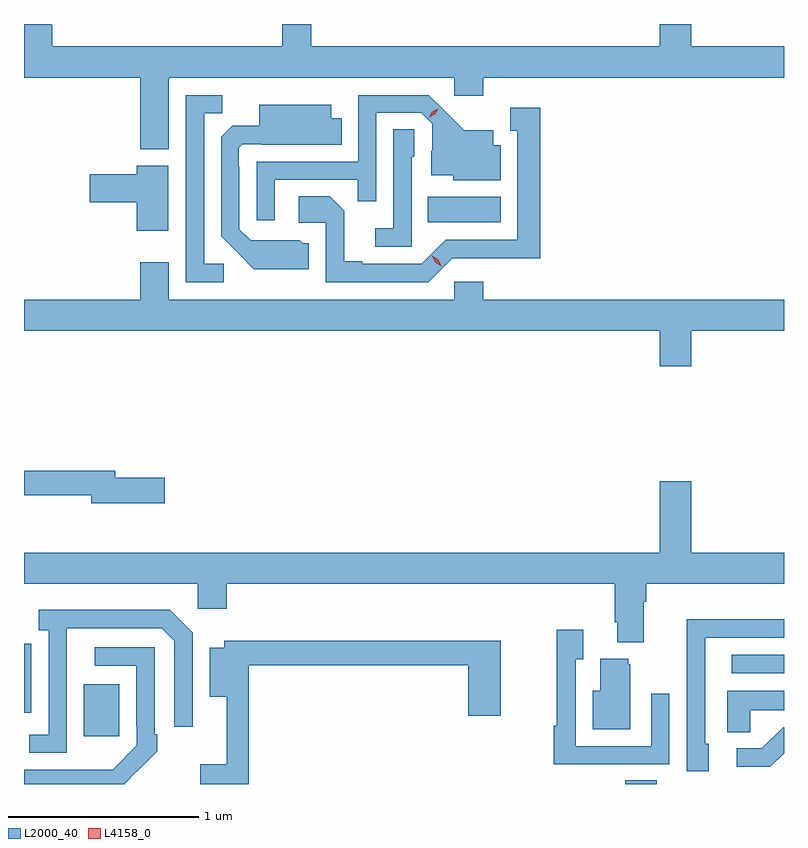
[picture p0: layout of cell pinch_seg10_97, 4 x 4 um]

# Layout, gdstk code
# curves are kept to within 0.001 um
import gdstk
lib = gdstk.Library(unit=1e-6, precision=1e-09)
def R(c, l, rs):  # rectangles x0, y0, x1, y1
    for r in rs: c.add(gdstk.rectangle(r[:2], r[2:], *l))
def P(c, l, *ps):  # polygons
    for p in ps: c.add(gdstk.Polygon(p, *l))
L2000_40 = (2000, 40)
L4158_0 = (4158, 0)

pinch_seg10_97 = lib.new_cell('pinch_seg10_97')
R(pinch_seg10_97, L2000_40, [(716.273,1288.606,716.438,1288.625), (713.423,1288.857,713.611,1289.131), (716.835,1289.19,717.109,1289.286), (715.234,1291.562,715.618,1291.696)])
P(pinch_seg10_97, L2000_40, [(713.872,1292.324),(715.374,1292.324),(715.374,1292.229),(715.526,1292.229),(715.526,1292.324),(717.109,1292.324),(717.109,1292.488),(716.62,1292.488),(716.62,1292.606),(716.456,1292.606),(716.456,1292.488),(714.62,1292.488),(714.62,1292.606),(714.468,1292.606),(714.468,1292.488),(713.258,1292.488),(713.258,1292.601),(713.253,1292.601),(713.253,1292.606),(713.109,1292.606),(713.109,1292.324),(713.72,1292.324),(713.72,1291.946),(713.872,1291.946)],
  [(714.429,1291.785),(714.865,1291.785),(714.865,1291.672),(714.963,1291.672),(714.963,1292.139),(715.2,1292.139),(715.257,1292.082),(715.257,1291.94),(715.253,1291.94),(715.253,1291.811),(715.368,1291.811),(715.368,1291.784),(715.618,1291.784),(715.618,1291.969),(715.579,1291.969),(715.579,1292.047),(715.427,1292.047),(715.24,1292.232),(714.867,1292.232),(714.867,1291.881),(714.333,1291.881),(714.333,1291.572),(714.429,1291.572)],
  [(714.16,1291.344),(714.057,1291.344),(714.057,1292.137),(714.153,1292.137),(714.153,1292.232),(713.961,1292.232),(713.961,1291.248),(714.16,1291.248)],
  [(714.607,1291.452),(714.576,1291.452),(714.56,1291.468),(714.303,1291.467),(714.243,1291.527),(714.243,1291.856),(714.24,1291.856),(714.24,1291.956),(714.258,1291.974),(714.358,1291.974),(714.358,1291.97),(714.782,1291.97),(714.782,1292.11),(714.727,1292.11),(714.727,1292.182),(714.347,1292.182),(714.347,1292.071),(714.206,1292.071),(714.147,1292.012),(714.147,1291.49),(714.319,1291.316),(714.607,1291.316)],
  [(715.362,1291.374),(715.825,1291.373),(715.825,1292.164),(715.667,1292.164),(715.667,1292.043),(715.706,1292.043),(715.706,1291.47),(715.329,1291.47),(715.203,1291.344),(714.889,1291.344),(714.889,1291.357),(714.795,1291.357),(714.795,1291.624),(714.719,1291.7),(714.555,1291.7),(714.555,1291.56),(714.696,1291.56),(714.696,1291.248),(715.236,1291.248)],
  [(715.149,1291.908),(715.164,1291.908),(715.164,1292.051),(715.053,1292.051),(715.053,1291.531),(714.957,1291.531),(714.957,1291.434),(715.149,1291.434)],
  [(713.869,1291.861),(713.702,1291.861),(713.702,1291.814),(713.454,1291.814),(713.454,1291.667),(713.702,1291.667),(713.702,1291.518),(713.869,1291.518)],
  [(716.62,1290.992),(717.109,1290.992),(717.109,1291.156),(715.526,1291.156),(715.526,1291.249),(715.374,1291.249),(715.374,1291.156),(713.872,1291.156),(713.872,1291.351),(713.72,1291.351),(713.72,1291.156),(713.109,1291.156),(713.109,1290.992),(716.456,1290.992),(716.456,1290.804),(716.62,1290.804)],
  [(713.851,1290.218),(713.59,1290.218),(713.59,1290.254),(713.109,1290.254),(713.109,1290.126),(713.462,1290.126),(713.462,1290.083),(713.851,1290.083)],
  [(716.371,1289.564),(716.384,1289.564),(716.384,1289.66),(717.109,1289.66),(717.109,1289.824),(716.62,1289.824),(716.62,1290.199),(716.456,1290.199),(716.456,1289.824),(713.109,1289.824),(713.109,1289.66),(714.024,1289.66),(714.024,1289.529),(714.176,1289.529),(714.176,1289.66),(716.219,1289.66),(716.219,1289.458),(716.231,1289.458),(716.231,1289.351),(716.371,1289.351)],
  [(713.334,1289.227),(713.335,1289.427),(713.835,1289.427),(713.901,1289.361),(713.901,1288.908),(713.997,1288.908),(713.997,1289.403),(713.876,1289.524),(713.187,1289.524),(713.187,1289.414),(713.238,1289.414),(713.238,1288.866),(713.136,1288.866),(713.136,1288.77),(713.334,1288.77)],
  [(716.713,1288.818),(716.694,1288.818),(716.694,1289.376),(717.109,1289.376),(717.109,1289.472),(717.059,1289.472),(717.059,1289.474),(716.596,1289.474),(716.596,1289.167),(716.598,1289.167),(716.598,1288.674),(716.713,1288.674)],
  [(716.189,1288.71),(716.505,1288.71),(716.505,1289.08),(716.409,1289.08),(716.409,1288.806),(716.013,1288.806),(716.013,1289.263),(716.053,1289.263),(716.053,1289.419),(715.912,1289.419),(715.912,1288.913),(715.897,1288.913),(715.897,1288.709),(716.189,1288.709)],
  [(714.293,1289.23),(715.448,1289.23),(715.448,1288.965),(715.618,1288.965),(715.618,1289.359),(714.162,1289.359),(714.162,1289.323),(714.086,1289.323),(714.086,1289.066),(714.176,1289.066),(714.176,1288.711),(714.036,1288.711),(714.036,1288.606),(714.293,1288.606)],
  [(713.148,1289.234),(713.147,1289.234),(713.147,1289.343),(713.109,1289.343),(713.109,1288.98),(713.148,1288.98)],
  [(713.705,1288.675),(713.706,1288.674),(713.811,1288.779),(713.811,1288.867),(713.796,1288.867),(713.796,1289.325),(713.481,1289.325),(713.481,1289.229),(713.7,1289.229),(713.7,1288.909),(713.703,1288.909),(713.703,1288.809),(713.575,1288.681),(713.109,1288.68),(713.109,1288.606),(713.636,1288.606)],
  [(716.299,1289.235),(716.288,1289.235),(716.288,1289.266),(716.141,1289.266),(716.141,1289.098),(716.102,1289.098),(716.102,1288.895),(716.299,1288.895)],
  [(716.931,1288.994),(717.109,1288.994),(717.109,1289.098),(716.81,1289.098),(716.81,1288.879),(716.931,1288.879)],
  [(717.109,1288.768),(717.109,1288.905),(717.104,1288.905),(716.993,1288.794),(716.859,1288.794),(716.859,1288.697),(717.037,1288.697)])
P(pinch_seg10_97, L4158_0, [(715.305,1291.332),(715.274,1291.352),(715.257,1291.384),(715.257,1291.385),(715.258,1291.385),(715.289,1291.365),(715.306,1291.333),(715.306,1291.332)],
  [(715.241,1292.114),(715.241,1292.115),(715.258,1292.144),(715.289,1292.16),(715.289,1292.16),(715.289,1292.16),(715.272,1292.13),(715.241,1292.114)])

lib.write_gds('pinch_seg10_97.gds')
